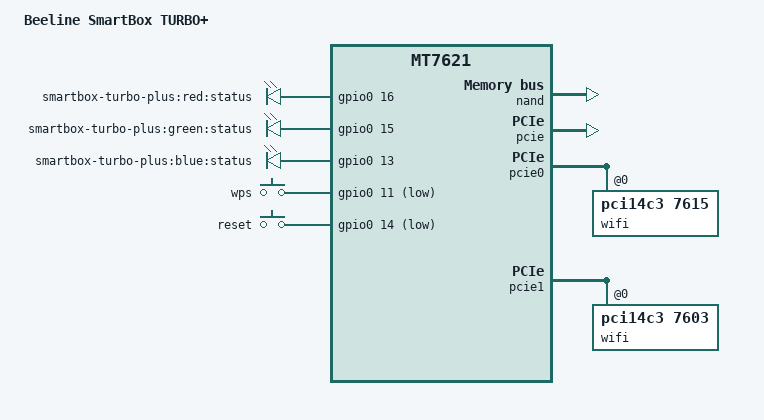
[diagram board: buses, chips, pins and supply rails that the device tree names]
// SPDX-License-Identifier: GPL-2.0-or-later OR MIT
/dts-v1/;

#include "mt7621.dtsi"

#include <dt-bindings/gpio/gpio.h>
#include <dt-bindings/input/input.h>

/ {
	compatible = "beeline,smartbox-turbo-plus", "mediatek,mt7621-soc";
	model = "Beeline SmartBox TURBO+";

	aliases {
		led-boot = &led_status_blue;
		led-failsafe = &led_status_red;
		led-running = &led_status_green;
		led-upgrade = &led_status_red;
	};

	chosen {
		bootargs = "console=ttyS0,115200n8";
	};

	leds {
		compatible = "gpio-leds";

		led_status_red: status_red {
			gpios = <&gpio0 16 GPIO_ACTIVE_HIGH>;
			label = "smartbox-turbo-plus:red:status";
		};

		led_status_green: status_green {
			gpios = <&gpio0 15 GPIO_ACTIVE_HIGH>;
			label = "smartbox-turbo-plus:green:status";
		};

		led_status_blue: status_blue {
			gpios = <&gpio0 13 GPIO_ACTIVE_HIGH>;
			trigger-sources = <&xhci_ehci_port1>, <&ehci_port2>;
			linux,default-trigger = "usbport";
			label = "smartbox-turbo-plus:blue:status";
		};

	};

	keys {
		compatible = "gpio-keys";

		wps {
			label = "wps";
			gpios = <&gpio0 11 GPIO_ACTIVE_LOW>;
			linux,code = <KEY_WPS_BUTTON>;
		};

		reset {
			label = "reset";
			gpios = <&gpio0 14 GPIO_ACTIVE_LOW>;
			linux,code = <KEY_RESTART>;
		};
	};
};

&nand {
	status = "okay";

	partitions {
		compatible = "fixed-partitions";
		#address-cells = <1>;
		#size-cells = <1>;

		partition@0 {
			label = "Bootloader";
			reg = <0x0 0x80000>;
			read-only;
		};

		partition@80000 {
			label = "Config";
			reg = <0x80000 0x40000>;
		};

		partition@c0000 {
			label = "Bdata";
			reg = <0xc0000 0x40000>;
			read-only;
		};

		factory: partition@100000 {
			label = "factory";
			reg = <0x100000 0x40000>;
			read-only;
		};

		partition@140000 {
			label = "crash";
			reg = <0x140000 0x40000>;
		};

		partition@180000 {
			label = "crash_syslog";
			reg = <0x180000 0x40000>;
		};

		partition@1c0000 {
			label = "reserved0";
			reg = <0x1c0000 0x40000>;
			read-only;
		};

		/* uboot expects to find kernels at 0x200000 & 0x600000
		 * referred to as system 1 & system 2 respectively.
		 * a kernel is considered suitable for handing control over
		 * if its linux magic number exists & uImage CRC are correct.
		 * If either of those conditions fail, a matching sys'n'_fail flag
		 * is set in uboot env & a restart performed in the hope that the
		 * alternate kernel is okay.
		 * if neither kernel checksums ok and both are marked failed, system 2
		 * is booted anyway.
		 *
		 * Note uboot's tftp flash install writes the transferred
		 * image to both kernel partitions.
		 */

		partition@200000 {
			label = "kernel_stock";
			reg = <0x200000 0x400000>;
		};

		partition@600000 {
			label = "kernel";
			reg = <0x600000 0x400000>;
		};

		/* ubi partition is the result of squashing
		 * next consecutive stock partitions:
		 * - rootfs0 (rootfs partition for stock kernel0),
		 * - rootfs1 (rootfs partition for stock failsafe kernel1),
		 * - overlay (used as ubi overlay in stock fw)
		 * resulting 117,5MiB space for packages.
		 */

		partition@a00000 {
			label = "ubi";
			reg = <0xa00000 0x7580000>;
		};
	};
};

&gpio1 {
	status = "okay";
};

&gpio2 {
	status  = "okay";
};

&pcie {
	status = "okay";
};

&pcie0 {
	wifi@0,0 {
		compatible = "pci14c3,7615";
		reg = <0x0000 0 0 0 0>;
		mediatek,mtd-eeprom = <&factory 0x8000>;
		ieee80211-freq-limit = <5000000 6000000>;
	};
};

&pcie1 {
	wifi@0,0 {
		compatible = "pci14c3,7603";
		reg = <0x0000 0 0 0 0>;
		mediatek,mtd-eeprom = <&factory 0x0000>;
		ieee80211-freq-limit = <2400000 2500000>;
	};
};

&ethernet {
	mtd-mac-address = <&factory 0x4>;
};


&pinctrl {
        state_default: pinctrl0 {
                gpio {
                        ralink,group = "jtag", "uart2", "uart3", "wdt";
                        ralink,function = "gpio";
                };
        };
};
